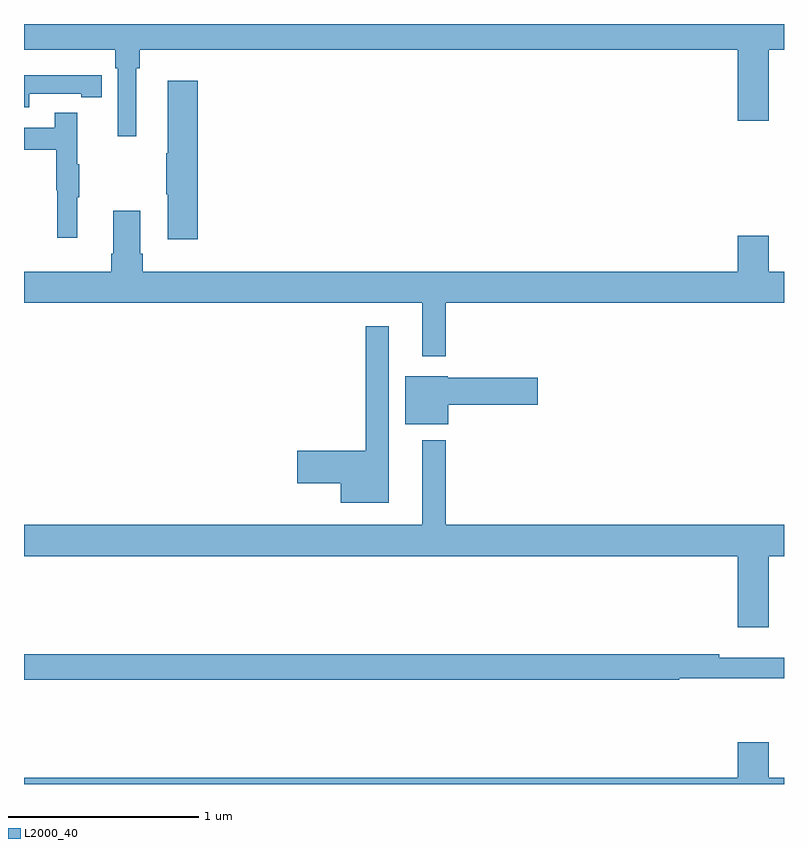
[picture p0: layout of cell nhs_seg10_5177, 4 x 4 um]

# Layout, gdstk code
import gdstk
lib = gdstk.Library(unit=1e-6, precision=1e-09)
def P(c, l, *ps):  # polygons
    for p in ps: c.add(gdstk.Polygon(p, *l))
L2000_40 = (2000, 40)

nhs_seg10_5177 = lib.new_cell('nhs_seg10_5177')
P(nhs_seg10_5177, L2000_40, [(413.59,1252.268),(413.609,1252.268),(413.609,1252.364),(416.756,1252.364),(416.756,1251.99),(416.92,1251.99),(416.92,1252.364),(417,1252.364),(417,1252.5),(413,1252.5),(413,1252.364),(413.48,1252.364),(413.48,1252.268),(413.493,1252.268),(413.493,1251.909),(413.59,1251.909)],
  [(413.028,1252.134),(413.3,1252.134),(413.3,1252.114),(413.408,1252.114),(413.408,1252.23),(413.3,1252.23),(413.3,1252.231),(413,1252.231),(413,1252.062),(413.028,1252.062)],
  [(413.915,1252.201),(413.756,1252.201),(413.756,1251.821),(413.749,1251.821),(413.749,1251.604),(413.756,1251.604),(413.756,1251.366),(413.915,1251.366)],
  [(413.279,1251.587),(413.29,1251.587),(413.29,1251.761),(413.279,1251.761),(413.279,1252.033),(413.161,1252.033),(413.161,1251.954),(413,1251.954),(413,1251.838),(413.169,1251.838),(413.169,1251.624),(413.176,1251.624),(413.176,1251.375),(413.279,1251.375)],
  [(415.219,1251.032),(417,1251.032),(417,1251.196),(416.92,1251.196),(416.92,1251.385),(416.756,1251.385),(416.756,1251.196),(413.624,1251.196),(413.624,1251.292),(413.611,1251.292),(413.611,1251.517),(413.471,1251.517),(413.471,1251.292),(413.459,1251.292),(413.459,1251.196),(413,1251.196),(413,1251.032),(415.097,1251.032),(415.097,1250.751),(415.219,1250.751)],
  [(414.919,1250.908),(414.798,1250.908),(414.798,1250.255),(414.438,1250.255),(414.438,1250.084),(414.668,1250.084),(414.668,1249.979),(414.919,1249.979)],
  [(415.234,1250.495),(415.705,1250.495),(415.705,1250.637),(415.23,1250.637),(415.23,1250.647),(415.007,1250.647),(415.007,1250.393),(415.234,1250.393)],
  [(416.92,1249.7),(417,1249.7),(417,1249.864),(415.219,1249.864),(415.219,1250.308),(415.097,1250.308),(415.097,1249.864),(413,1249.864),(413,1249.7),(416.756,1249.7),(416.756,1249.326),(416.92,1249.326)],
  [(416.449,1249.056),(417,1249.056),(417,1249.165),(416.66,1249.165),(416.66,1249.184),(413,1249.184),(413,1249.048),(416.449,1249.048)],
  [(417,1248.532),(416.92,1248.532),(416.92,1248.721),(416.756,1248.721),(416.756,1248.532),(413,1248.532),(413,1248.5),(417,1248.5)])

lib.write_gds('nhs_seg10_5177.gds')
